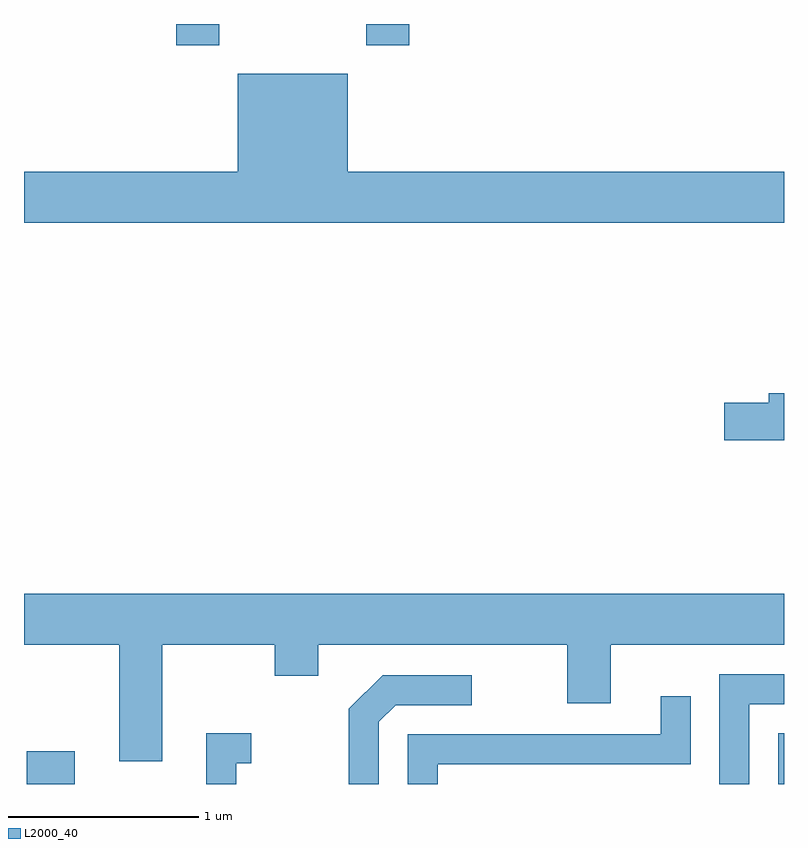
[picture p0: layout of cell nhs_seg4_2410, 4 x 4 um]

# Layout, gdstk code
import gdstk
lib = gdstk.Library(unit=1e-6, precision=1e-09)
def R(c, l, rs):  # rectangles x0, y0, x1, y1
    for r in rs: c.add(gdstk.rectangle(r[:2], r[2:], *l))
def P(c, l, *ps):  # polygons
    for p in ps: c.add(gdstk.Polygon(p, *l))
L2000_40 = (2000, 40)

nhs_seg4_2410 = lib.new_cell('nhs_seg4_2410')
R(nhs_seg4_2410, L2000_40, [(255.626,1313.982,255.879,1314.154), (259.581,1313.982,259.611,1314.249), (256.411,1317.871,256.639,1317.982), (257.411,1317.871,257.639,1317.982)])
P(nhs_seg4_2410, L2000_40, [(259.611,1317.204),(257.314,1317.204),(257.314,1317.719),(256.736,1317.719),(256.736,1317.204),(255.611,1317.204),(255.611,1316.936),(259.611,1316.936)],
  [(259.611,1316.039),(259.531,1316.039),(259.531,1315.989),(259.296,1315.989),(259.296,1315.791),(259.611,1315.791)],
  [(256.339,1314.716),(256.931,1314.716),(256.931,1314.551),(257.159,1314.551),(257.159,1314.716),(258.471,1314.716),(258.471,1314.406),(258.699,1314.406),(258.699,1314.716),(259.611,1314.716),(259.611,1314.984),(255.611,1314.984),(255.611,1314.716),(256.111,1314.716),(256.111,1314.101),(256.339,1314.101)],
  [(259.429,1314.401),(259.611,1314.401),(259.611,1314.559),(259.271,1314.559),(259.271,1313.982),(259.429,1313.982)],
  [(257.479,1314.309),(257.567,1314.396),(257.968,1314.396),(257.968,1314.554),(257.498,1314.554),(257.321,1314.377),(257.321,1313.982),(257.479,1313.982)],
  [(257.789,1314.086),(259.119,1314.086),(259.119,1314.443),(258.961,1314.443),(258.961,1314.244),(257.631,1314.244),(257.631,1313.982),(257.789,1313.982)],
  [(256.729,1314.091),(256.808,1314.091),(256.808,1314.249),(256.571,1314.249),(256.571,1313.982),(256.729,1313.982)])

lib.write_gds('nhs_seg4_2410.gds')
